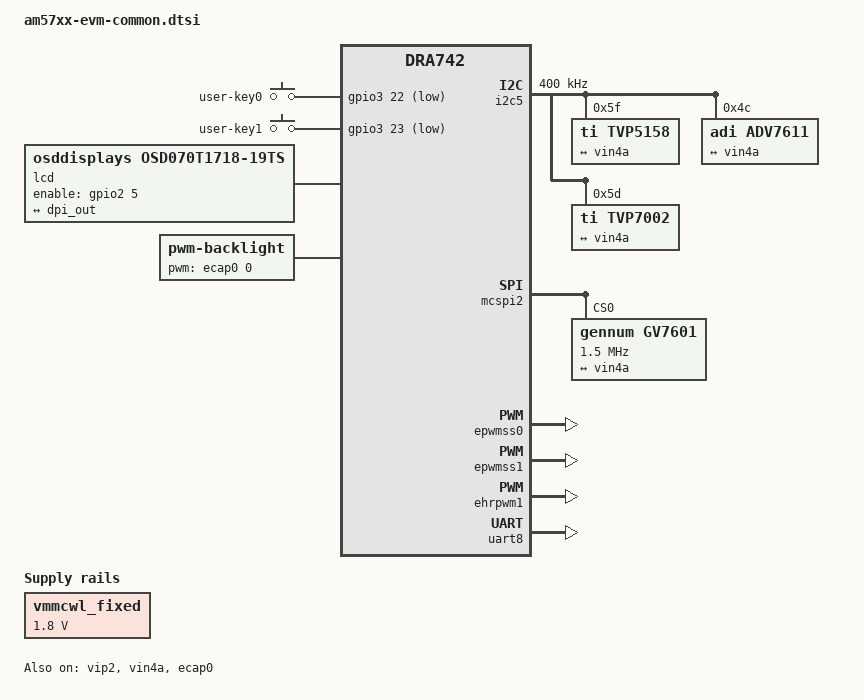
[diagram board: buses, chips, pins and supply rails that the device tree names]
/*
 * Copyright (C) 2015-2016 Texas Instruments Incorporated - http://www.ti.com/
 *
 * This program is free software; you can redistribute it and/or modify
 * it under the terms of the GNU General Public License version 2 as
 * published by the Free Software Foundation.
 */

#include <dt-bindings/gpio/gpio.h>
#include <dt-bindings/input/input.h>

/ {
	compatible = "ti,am5728-evm", "ti,am572x-beagle-x15", "ti,am5728", "ti,dra742", "ti,dra74", "ti,dra7";

	gpio_keys {
		compatible = "gpio-keys";
		#address-cells = <1>;
		#size-cells = <0>;
		autorepeat;

		USER1 {
			label = "user-key0";
			linux,code = <KEY_PROG1>;
			gpios = <&gpio3 22 GPIO_ACTIVE_LOW>;
		};

		USER2 {
			label = "user-key1";
			linux,code = <KEY_PROG2>;
			gpios = <&gpio3 23 GPIO_ACTIVE_LOW>;
		};
	};

	aliases {
		display0 = &lcd0;
		display1 = &hdmi0;
	};

	lcd0: display {
		compatible = "osddisplays,osd070t1718-19ts", "panel-dpi";

		label = "lcd";

		enable-gpios = <&gpio2 5 GPIO_ACTIVE_HIGH>;

		panel-timing {
			clock-frequency = <9000000>;
			hactive = <480>;
			vactive = <272>;
			hfront-porch = <2>;
			hback-porch = <2>;
			hsync-len = <41>;
			vback-porch = <2>;
			vfront-porch = <2>;
			vsync-len = <10>;
			hsync-active = <0>;
			vsync-active = <0>;
			de-active = <1>;
			pixelclk-active = <1>;
		};

		port {
			lcd_in: endpoint {
				remote-endpoint = <&dpi_out>;
			};
		};
	};

	backlight {
		compatible = "pwm-backlight";
		pwms = <&ecap0 0 50000 0>;

		brightness-levels = <0 10 50 100 150 200 220 240 255>;

		default-brightness-level = <8>;
	};

	vmmcwl_fixed: fixedregulator-mmcwl {
		compatible = "regulator-fixed";
		regulator-name = "vmmcwl_fixed";
		regulator-min-microvolt = <1800000>;
		regulator-max-microvolt = <1800000>;
		//gpio = <&gpio5 8 GPIO_ACTIVE_HIGH>;
		enable-active-high;
	};
};

&dra7_pmx_core {
	ehrpwm0_pins: ehrpwm0_pins {
		pinctrl-single,pins = <
			DRA7XX_CORE_IOPAD(0x3500, (PIN_OUTPUT | MUX_MODE10)) /* vin1a_d3.eCAP1_in_PWM1_out (AH6) */
		>;
	};

	vin4a_reset_pins: vin4a_reset_pins {
		pinctrl-single,pins = <
			DRA7XX_CORE_IOPAD(0x34e0, (PIN_OUTPUT_PULLUP | MUX_MODE14)) /* vin1b_clk1.gpio2_31 (AH7) */
		>;
	};

	spi2_pins: spi2_pins {
		pinctrl-single,pins = <
			DRA7XX_CORE_IOPAD(0x37c0, (INPUT_EN | MUX_MODE0))          /* spi2_sclk.spi2_sclk (A26) */
			DRA7XX_CORE_IOPAD(0x37c4, (INPUT_EN | MUX_MODE0))          /* spi2_d1.spi2_d1 (B22) */
			DRA7XX_CORE_IOPAD(0x37c8, (INPUT_EN | MUX_MODE0))          /* spi2_d0.spi2_d0 (G17) */
			DRA7XX_CORE_IOPAD(0x37cc, (PIN_OUTPUT_PULLUP | MUX_MODE0)) /* spi2_cs0.spi2_cs0 (B24) */
		>;
	};
};

&dss {
	ports {
		#address-cells = <1>;
		#size-cells = <0>;

		port {
			reg = <0>;

			dpi_out: endpoint {
				remote-endpoint = <&lcd_in>;
				data-lines = <24>;
			};
		};
	};
};

/*
&i2c4 {
	status = "okay";
	clock-frequency = <400000>;

	tvp5158@5f {
		compatible = "ti,tvp5158";
		reg = <0x5f>;

		port {
			tvp5158: endpoint {
				remote-endpoint = <&vin4a>;
				channels = <0 2 4 6>;
			};
		};
	};
};
*/

&i2c5 {
	status = "okay";
	clock-frequency = <400000>;

/*
	mt9t11x@3C {
		compatible = "aptina,mt9t111";
		reg = <0x3C>;

		reset-gpios = <&gpio4 17 GPIO_ACTIVE_LOW>;
		oscen-gpios = <&gpio5 10 GPIO_ACTIVE_HIGH>;
		powerdown-gpios = <&gpio5 11 GPIO_ACTIVE_LOW>;
		bufen-gpios = <&gpio5 12 GPIO_ACTIVE_LOW>;
		camen-gpios = <&gpio6 11 GPIO_ACTIVE_LOW>;

		port {
			cam: endpoint {
				remote-endpoint = <&vin3a>;
				hsync-active = <1>;
				vsync-active = <1>;
				pclk-sample = <0>;
				input-clock-freq = <32000000>;
				pixel-clock-freq = <96000000>;
			};
		};
	};
*/

	tvp5158@5f {
		compatible = "ti,tvp5158";

		reg = <0x5f>;

		port {
			tvp5158: endpoint {
				remote-endpoint = <&vin4a>;
				channels = <0 2 4 6>;
			};
		};
	};

	adv7611@4c {
		compatible = "adi,adv7611";

		reg = <0x4c>;

		port {
			adv7611_0: endpoint {
				remote-endpoint = <&vin4a>;
				pixel-mux;
				bus-width = <16>;
				channels = <0>;
			};
		};
	};

	tvp7002@5d {
		compatible = "ti,tvp7002";

		reg = <0x5d>;

		port {
			tvp7002_0: endpoint {
				remote-endpoint = <&vin4a>;
				pixel-mux;
				bus-width = <16>;
				channels = <0>;
			};
		};
	};
};

&mcspi2 {
	status = "okay";
	pinctrl-names = "default";
	pinctrl-0 = <&spi2_pins>;
	ti,pindir-d0-out-d1-in;

	gv7601@0 {
		compatible = "gennum,gv7601";

		reg = <0>;         /* CS0 */
		spi-max-frequency = <1500000>;

		port {
			gv7601: endpoint {
				remote-endpoint = <&vin4a>;
				pclk-sample = <1>;
				hsync-active = <0>;
				vsync-active = <0>;
				pixel-clock-freq = <75000000>;
				bus-width = <16>;
				channels = <0>;
			};
		};
	};
};

&vip2 {
	status = "okay";
	pinctrl-names = "default";
	pinctrl-0 = <&vin4a_reset_pins>;
};

/*
&vin3a {
	status = "okay";
	endpoint {
		slave-mode;
		remote-endpoint = <&cam>;
	};
};
*/

&vin4a {
	status = "okay";
	endpoint {
		slave-mode;
		remote-endpoint = <&tvp5158>;
	};
};

&pcie1 {
	//gpios = <&gpio2 8 GPIO_ACTIVE_LOW>;
};

&epwmss0 {
	status = "okay";
};

&ecap0 {
	status = "okay";
	pinctrl-names = "default";
	pinctrl-0 = <&ehrpwm0_pins>;
};

&epwmss1 {
	status = "okay";
};

&ehrpwm1 {
	status = "okay";
};

&uart8 {
	status = "okay";
};

&mmc3 {
	status = "disabled";
	vmmc-supply = <&vmmcwl_fixed>;
	bus-width = <4>;
	pinctrl-names = "default";
	cap-power-off-card;
	keep-power-in-suspend;
	ti,non-removable;
	pinctrl-names = "default", "hs", "sdr12", "sdr25", "sdr50";
	pinctrl-0 = <&mmc3_pins_default>;
	pinctrl-1 = <&mmc3_pins_hs>;
	pinctrl-2 = <&mmc3_pins_sdr12>;
	pinctrl-3 = <&mmc3_pins_sdr25>;
	pinctrl-4 = <&mmc3_pins_sdr50 &mmc3_iodelay_manual1_conf>;

	#address-cells = <1>;
	#size-cells = <0>;
	wlcore: wlcore@0 {
		compatible = "ti,wl1835";
		reg = <2>;
		interrupt-parent = <&gpio5>;
		interrupts = <7 IRQ_TYPE_LEVEL_HIGH>;
	};
};
